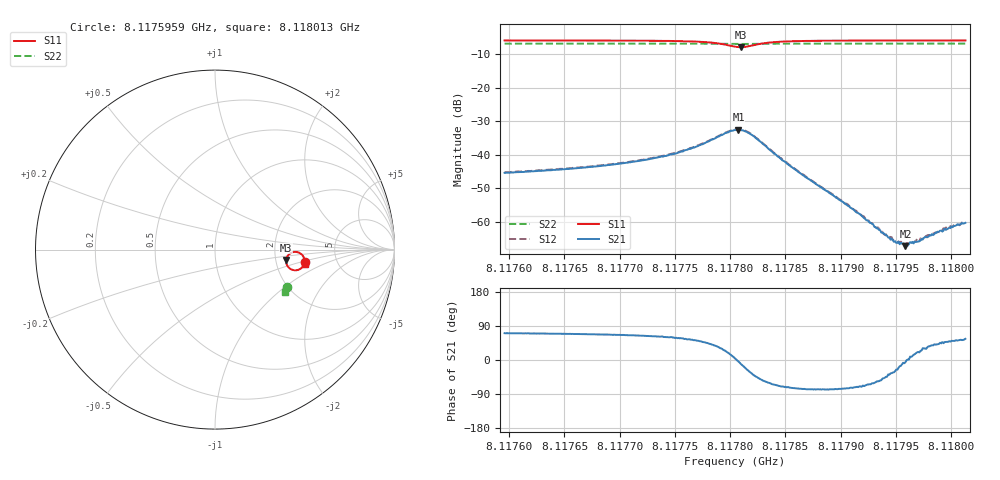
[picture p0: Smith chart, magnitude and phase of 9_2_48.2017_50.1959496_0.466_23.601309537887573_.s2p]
#  HZ  S  RI  R  50.00
! Rohde & Schwarz Vector Network Analyzer
! Rohde-Schwarz,ZNB20-2Port,1311601062101988,3.16
! Created: UTC 3/20/2024, 11:36:22 AM
! freq[Hz]  re:S11  im:S11  re:S21  im:S21  re:S12  im:S12  re:S22  im:S22
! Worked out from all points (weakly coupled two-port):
!   401 points, 8.1175959 GHz to 8.118013 GHz, reference 50 ohm
!   highest |S21| = -32.59 dB at 8.1178075 GHz (marker M1); lowest = -67.4 dB at 8.1179588 GHz (marker M2)
!   lowest |S11| = -7.9 dB at 8.1178096 GHz (marker M3), VSWR 2.34, Z = 114 - j15.5 ohm
!   |S11| at or under -10 dB: nowhere
!   |S22| runs from -7.0 to -6.9 dB; largest |S21 - S12| = 0.00067
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8.11759586e9  0.5005 -0.0671  0.00176 0.00503  0.00186 0.00514  0.4016 -0.2084
8.11766573e9  0.4979 -0.0767  0.00234 0.0059  0.00245 0.00603  0.3992 -0.2129
8.11770536e9  0.4949 -0.0845  0.0031 0.00683  0.0032 0.00693  0.3979 -0.2156
8.1177356e9  0.4898 -0.093  0.00432 0.00803  0.00446 0.00816  0.3968 -0.2177
8.1177502e9  0.4852 -0.0987  0.00546 0.0088  0.00557 0.00913  0.396 -0.2188
8.11776897e9  0.4738 -0.1082  0.00808 0.0102  0.00838 0.0104  0.3948 -0.2203
8.11779191e9  0.4342 -0.1136  0.0167 0.00989  0.0172 0.00986  0.3924 -0.2213
8.11780442e9  0.3996 -0.0828  0.0231 0.00156  0.0236 0.00169  0.3907 -0.2204
8.11780755e9  0.3961 -0.0676  0.0234 -0.00164  0.0238 -0.00181  0.3907 -0.2196
8.11780964e9  0.3966 -0.0571  0.023 -0.00414  0.0234 -0.00425  0.3906 -0.2192
8.11782006e9  0.4248 -0.0181  0.0157 -0.0116  0.0158 -0.0119  0.3922 -0.2184
8.11784092e9  0.4777 -0.0228  0.00412 -0.00923  0.00413 -0.00947  0.3939 -0.2206
8.11787429e9  0.4959 -0.0468  0.000865 -0.00386  0.000861 -0.00397  0.3934 -0.2238
8.11790974e9  0.4991 -0.0598  0.000461 -0.00152  0.000457 -0.00155  0.3924 -0.2266
8.11794103e9  0.4994 -0.0669  0.00044 -0.000433  0.000459 -0.000454  0.3913 -0.2288
8.11794416e9  0.4994 -0.0675  0.000448 -0.000359  0.000442 -0.000388  0.3912 -0.2289
8.11794937e9  0.4994 -0.0685  0.000445 -0.00025  0.000452 -0.000257  0.391 -0.2293
8.11795876e9  0.4995 -0.07  0.000426 -4.14e-05  0.000464 -7.22e-06  0.3906 -0.2299
8.11797023e9  0.4994 -0.072  0.000467 0.000182  0.000516 0.000173  0.3904 -0.2306
8.117989e9  0.4992 -0.0747  0.000518 0.000473  0.000494 0.000486  0.3897 -0.232
8.11799421e9  0.4992 -0.0754  0.000529 0.000576  0.000546 0.000557  0.3894 -0.2324
8.11801298e9  0.499 -0.0779  0.000534 0.000791  0.000568 0.000783  0.3888 -0.2335
